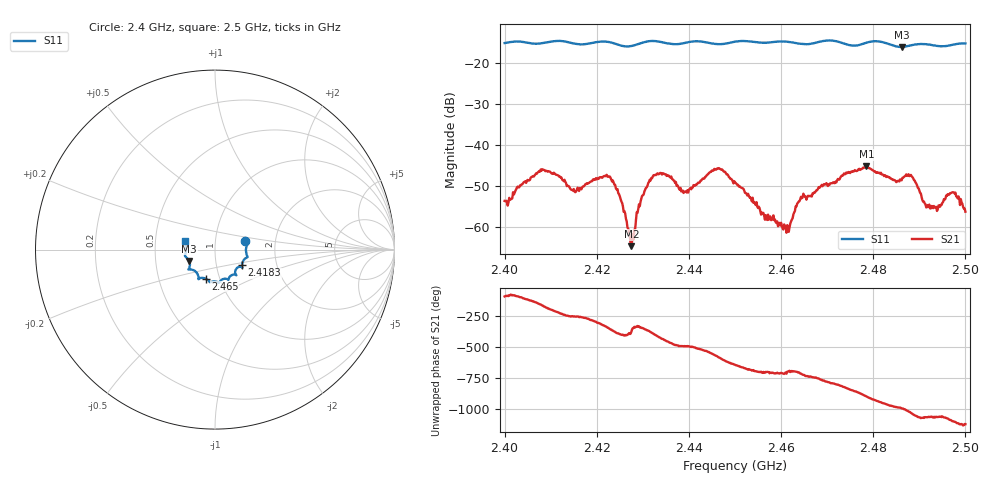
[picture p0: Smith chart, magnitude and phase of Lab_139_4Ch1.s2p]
# Hz S RI R 50
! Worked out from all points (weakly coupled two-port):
!   601 points, 2.4 GHz to 2.5 GHz, reference 50 ohm
!   highest |S21| = -45.24 dB at 2.4785 GHz (marker M1); lowest = -64.7 dB at 2.4275 GHz (marker M2)
!   lowest |S11| = -16.1 dB at 2.4862 GHz (marker M3), VSWR 1.37, Z = 37.1 - j4.83 ohm
!   |S11| at or under -10 dB: start of sweep to end of sweep
!   S12 and S22 are empty: the file has one direction only
!   S11 on the Smith chart (normalised r, x): 2.4 GHz: 1.40, +0.13; 2.4183 GHz: 1.33, -0.24; 2.465 GHz: 0.86, -0.29; 2.5 GHz: 0.71, +0.07
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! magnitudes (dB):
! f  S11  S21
! 2.4 GHz  -15.1  -53.7
! 2.4082 GHz  -15.1  -45.9
! 2.4167 GHz  -15.4  -50.8
! 2.4183 GHz  -15.2  -49.3
! 2.4232 GHz  -15.0  -48.5
! 2.425 GHz  -15.6  -52.5
! 2.4275 GHz  -15.8  -64.7
! 2.4302 GHz  -14.9  -52.1
! 2.4333 GHz  -14.7  -47.2
! 2.439 GHz  -15.1  -51.5
! 2.446 GHz  -15.4  -45.9
! 2.45 GHz  -14.8  -49.2
! 2.4607 GHz  -14.7  -59.4
! 2.465 GHz  -15.4  -52.3
! 2.4667 GHz  -15.3  -52.6
! 2.4785 GHz  -15.0  -45.2
! 2.4833 GHz  -15.3  -47.9
! 2.4862 GHz  -16.1  -48.6
! 2.4885 GHz  -15.6  -47.9
! 2.492 GHz  -15.5  -55.2
! 2.4973 GHz  -15.5  -51.5
! 2.5 GHz  -15.2  -56.3
